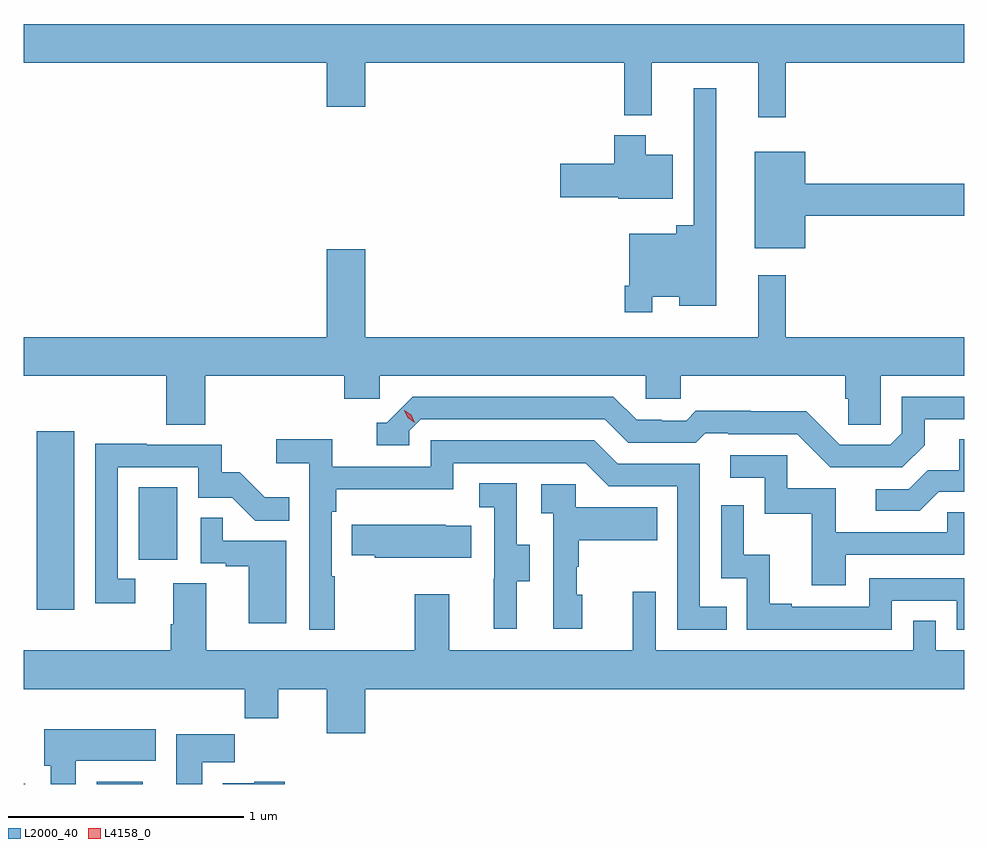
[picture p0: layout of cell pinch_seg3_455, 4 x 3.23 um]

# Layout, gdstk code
import gdstk
lib = gdstk.Library(unit=1e-6, precision=1e-09)
def R(c, l, rs):  # rectangles x0, y0, x1, y1
    for r in rs: c.add(gdstk.rectangle(r[:2], r[2:], *l))
def P(c, l, *ps):  # polygons
    for p in ps: c.add(gdstk.Polygon(p, *l))
L2000_40 = (2000, 40)
L4158_0 = (4158, 0)

pinch_seg3_455 = lib.new_cell('pinch_seg3_455')
R(pinch_seg3_455, L2000_40, [(906.976,672.54,906.982,672.541), (907.286,672.54,907.483,672.55), (907.031,673.28,907.192,674.041), (907.466,673.494,907.63,673.801)])
P(pinch_seg3_455, L2000_40, [(910.217,675.608),(910.976,675.608),(910.976,675.772),(906.976,675.772),(906.976,675.608),(908.264,675.608),(908.264,675.42),(908.428,675.42),(908.428,675.608),(909.529,675.608),(909.529,675.383),(909.647,675.383),(909.647,675.608),(910.1,675.608),(910.1,675.375),(910.217,675.375)],
  [(909.648,674.612),(909.764,674.612),(909.764,674.573),(909.922,674.573),(909.922,675.499),(909.825,675.499),(909.825,674.917),(909.752,674.917),(909.752,674.881),(909.552,674.881),(909.552,674.659),(909.532,674.659),(909.532,674.547),(909.648,674.547)],
  [(909.736,675.217),(909.622,675.217),(909.622,675.298),(909.488,675.298),(909.488,675.177),(909.258,675.177),(909.258,675.035),(909.504,675.035),(909.504,675.029),(909.736,675.029)],
  [(910.3,674.956),(910.976,674.956),(910.976,675.092),(910.3,675.092),(910.3,675.229),(910.085,675.229),(910.085,674.819),(910.3,674.819)],
  [(908.339,674.178),(908.49,674.178),(908.49,674.276),(909.621,674.276),(909.621,674.178),(909.771,674.178),(909.771,674.276),(910.469,674.276),(910.469,674.178),(910.483,674.178),(910.483,674.068),(910.62,674.068),(910.62,674.276),(910.976,674.276),(910.976,674.44),(910.217,674.44),(910.217,674.704),(910.1,674.704),(910.1,674.44),(908.428,674.44),(908.428,674.815),(908.264,674.815),(908.264,674.44),(906.976,674.44),(906.976,674.276),(907.583,674.276),(907.583,674.068),(907.748,674.068),(907.748,674.276),(908.339,674.276)],
  [(910.807,673.981),(910.807,674.091),(910.976,674.091),(910.976,674.187),(910.71,674.187),(910.71,674.031),(910.662,673.983),(910.446,673.983),(910.304,674.125),(910.068,674.125),(910.068,674.128),(909.835,674.128),(909.793,674.085),(909.69,674.085),(909.69,674.088),(909.583,674.088),(909.484,674.187),(908.631,674.187),(908.52,674.076),(908.477,674.076),(908.477,673.98),(908.616,673.98),(908.616,674.043),(908.664,674.091),(909.447,674.091),(909.546,673.992),(909.835,673.992),(909.874,674.031),(909.973,674.031),(909.973,674.028),(910.266,674.028),(910.407,673.887),(910.713,673.887)],
  [(908.299,673.424),(908.286,673.424),(908.286,673.697),(908.306,673.697),(908.306,673.793),(908.802,673.793),(908.802,673.905),(909.366,673.905),(909.465,673.806),(909.756,673.806),(909.756,673.197),(909.965,673.197),(909.965,673.293),(909.852,673.293),(909.852,673.902),(909.502,673.902),(909.403,674.001),(908.706,674.001),(908.706,673.89),(908.288,673.89),(908.288,674.006),(908.049,674.006),(908.049,673.904),(908.19,673.904),(908.19,673.197),(908.299,673.197)],
  [(910.867,673.782),(910.976,673.782),(910.976,674.006),(910.955,674.006),(910.955,673.874),(910.82,673.874),(910.74,673.794),(910.599,673.794),(910.599,673.701),(910.786,673.701)],
  [(907.45,673.413),(907.377,673.413),(907.377,673.887),(907.719,673.887),(907.719,673.758),(907.863,673.758),(907.961,673.66),(908.105,673.66),(908.105,673.759),(908.001,673.759),(907.894,673.866),(907.818,673.866),(907.818,673.983),(907.499,673.983),(907.499,673.988),(907.281,673.988),(907.281,673.308),(907.45,673.308)],
  [(910.471,673.515),(910.976,673.515),(910.976,673.695),(910.903,673.695),(910.903,673.611),(910.429,673.611),(910.429,673.797),(910.224,673.797),(910.224,673.938),(909.981,673.938),(909.981,673.842),(910.128,673.842),(910.128,673.689),(910.327,673.689),(910.327,673.386),(910.471,673.386)],
  [(909.073,673.402),(909.127,673.402),(909.127,673.557),(909.072,673.557),(909.072,673.82),(908.913,673.82),(908.913,673.717),(908.976,673.717),(908.976,673.413),(908.975,673.413),(908.975,673.2),(909.073,673.2)],
  [(909.352,673.344),(909.327,673.344),(909.327,673.463),(909.337,673.463),(909.337,673.577),(909.671,673.577),(909.671,673.717),(909.324,673.717),(909.324,673.815),(909.177,673.815),(909.177,673.691),(909.228,673.691),(909.228,673.2),(909.352,673.2)],
  [(910.668,673.32),(910.944,673.32),(910.944,673.197),(910.976,673.197),(910.976,673.416),(910.572,673.416),(910.572,673.293),(910.243,673.293),(910.243,673.306),(910.148,673.306),(910.148,673.514),(910.038,673.514),(910.038,673.726),(909.942,673.726),(909.942,673.416),(910.05,673.416),(910.05,673.197),(910.668,673.197)],
  [(908.092,673.575),(907.823,673.575),(907.823,673.673),(907.728,673.673),(907.728,673.479),(907.835,673.479),(907.835,673.467),(907.934,673.467),(907.934,673.224),(908.092,673.224)],
  [(908.879,673.639),(908.771,673.639),(908.771,673.642),(908.371,673.642),(908.371,673.513),(908.469,673.513),(908.469,673.502),(908.879,673.502)],
  [(908.428,672.944),(910.976,672.944),(910.976,673.108),(910.854,673.108),(910.854,673.235),(910.758,673.235),(910.758,673.108),(909.663,673.108),(909.663,673.357),(909.566,673.357),(909.566,673.108),(908.785,673.108),(908.785,673.348),(908.638,673.348),(908.638,673.108),(907.753,673.108),(907.753,673.394),(907.613,673.394),(907.613,673.22),(907.601,673.22),(907.601,673.108),(906.976,673.108),(906.976,672.944),(907.915,672.944),(907.915,672.82),(908.059,672.82),(908.059,672.944),(908.264,672.944),(908.264,672.756),(908.428,672.756)],
  [(907.198,672.638),(907.537,672.638),(907.537,672.772),(907.064,672.772),(907.064,672.618),(907.091,672.618),(907.091,672.54),(907.198,672.54)],
  [(907.735,672.632),(907.874,672.632),(907.874,672.751),(907.625,672.751),(907.625,672.54),(907.735,672.54)],
  [(908.087,672.55),(907.956,672.55),(907.956,672.544),(907.823,672.544),(907.823,672.54),(908.087,672.54)])
P(pinch_seg3_455, L4158_0, [(908.64,674.077),(908.609,674.097),(908.594,674.13),(908.594,674.13),(908.594,674.13),(908.624,674.11),(908.64,674.077),(908.64,674.077)])

lib.write_gds('pinch_seg3_455.gds')
